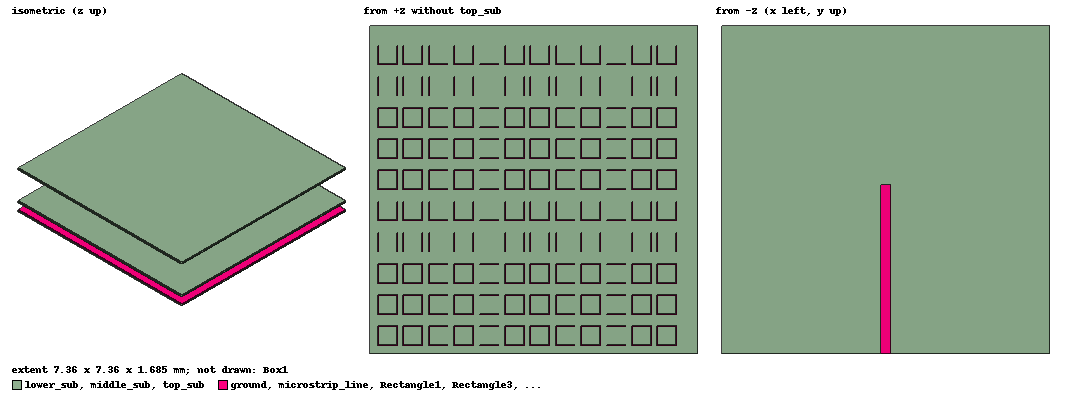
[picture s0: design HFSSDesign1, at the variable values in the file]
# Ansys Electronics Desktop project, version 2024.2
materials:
  vacuum: permittivity=1
  Rogers RO3003 (tm): permittivity=3 dielectric_loss_tangent=0.0013
  air: permittivity=1.0006 permeability=1.0000004

design HFSSDesign1 (HFSS, HFSS Terminal Network, model units mm)
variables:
  hs = 0.0639mm
  mlin = 0.2455mm
  h1 = 0.286mm
  pl = 0.716mm
  pw = 0.716mm
  lg = 7.36mm
  wg = 7.36mm
  l_hori = 0.3273mm
  w_hori = 0.1023mm
  w_vert = 0.0972mm
  l_vert = 0.2045mm
  h2 = 1.207mm
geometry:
  lower_sub [Rogers RO3003 (tm)] = box(corner=(-lg/2, -wg/2, 0mm), size=(lg, wg, hs))
  ground = rectangle(corner=(-lg/2, -wg/2, hs), x_size=lg, y_size=wg)
  microstrip_line = rectangle(corner=(-mlin/2, -wg/2, 0mm), x_size=mlin, y_size=wg/2+l_vert/2)
  middle_sub [Rogers RO3003 (tm)] = box(corner=(-lg/2, -wg/2, hs+h1), size=(lg, wg, hs))
  patch = rectangle(corner=(-pl/2, -pw/2, hs+h1), x_size=pl, y_size=pw)
  feed = rectangle(corner=(-mlin/2, -wg/2, 0mm), z_size=hs, x_size=mlin)
  horizontal_h = rectangle(corner=(-l_hori/2, -w_hori /2, hs), x_size=l_hori, y_size=w_hori)
  vertical_left = rectangle(corner=(-l_hori/2, -l_vert/2, hs), x_size=-w_vert, y_size=l_vert)
  vertical_right = rectangle(corner=(l_hori/2, -l_vert/2, hs), x_size=w_vert, y_size=l_vert)
  horizontal_h.unite(vertical_left, vertical_right)
  ground.subtract(horizontal_h)
  top_sub [Rogers RO3003 (tm)] = box(corner=(-lg/2, -wg/2, hs+h1+hs+h2), size=(lg, wg, hs))
  Rectangle1 = rectangle(corner=(-3.5mm, -3.5mm, hs+h1+hs+h2), x_size=0.441mm, y_size=0.441mm)
  Rectangle2 = rectangle(corner=((-3.5+0.0163) mm, (-3.5+0.0163) mm, hs+h1+hs+h2), x_size=0.4084mm, y_size=0.4084mm)
  Rectangle1.subtract(Rectangle2)
  Rectangle3 = rectangle(corner=(-3.5mm+0.57mm, -3.5mm, hs+h1+hs+h2), x_size=0.441mm, y_size=0.441mm)
  Rectangle4 = rectangle(corner=((-3.5+0.0163+0.57) mm, (-3.5+0.0163) mm, hs+h1+hs+h2), x_size=0.4084mm, y_size=0.4084mm)
  Rectangle3.subtract(Rectangle4)
  Rectangle5 = rectangle(corner=(-3.5mm+2*0.57mm, -3.5mm, hs+h1+hs+h2), x_size=0.441mm, y_size=0.441mm)
  Rectangle6 = rectangle(corner=((-3.5+0.0163+2*0.57) mm, (-3.5+0.0163) mm, hs+h1+hs+h2), x_size=0.4084mm, y_size=0.4084mm)
  Rectangle5.subtract(Rectangle6)
  Rectangle7 = rectangle(corner=(-3.5mm+3*0.57mm, -3.5mm, hs+h1+hs+h2), x_size=0.441mm, y_size=0.441mm)
  Rectangle8 = rectangle(corner=((-3.5+0.0163+3*0.57) mm, (-3.5+0.0163) mm, hs+h1+hs+h2), x_size=0.4084mm, y_size=0.4084mm)
  Rectangle7.subtract(Rectangle8)
  Rectangle9 = rectangle(corner=(-3.5mm+4*0.57mm, -3.5mm, hs+h1+hs+h2), x_size=0.441mm, y_size=0.441mm)
  Rectangle10 = rectangle(corner=((-3.5+0.0163+4*0.57) mm, (-3.5+0.0163) mm, hs+h1+hs+h2), x_size=0.4084mm, y_size=0.4084mm)
  Rectangle9.subtract(Rectangle10)
  Rectangle11 = rectangle(corner=(-3.5mm+5*0.57mm, -3.5mm, hs+h1+hs+h2), x_size=0.441mm, y_size=0.441mm)
  Rectangle12 = rectangle(corner=((-3.5+0.0163+5*0.57) mm, (-3.5+0.0163) mm, hs+h1+hs+h2), x_size=0.4084mm, y_size=0.4084mm)
  Rectangle11.subtract(Rectangle12)
  Rectangle13 = rectangle(corner=(-3.5mm+6*0.57mm, -3.5mm, hs+h1+hs+h2), x_size=0.441mm, y_size=0.441mm)
  Rectangle14 = rectangle(corner=((-3.5+0.0163+6*0.57) mm, (-3.5+0.0163) mm, hs+h1+hs+h2), x_size=0.4084mm, y_size=0.4084mm)
  Rectangle13.subtract(Rectangle14)
  Rectangle15 = rectangle(corner=(-3.5mm+7*0.57mm, -3.5mm, hs+h1+hs+h2), x_size=0.441mm, y_size=0.441mm)
  Rectangle16 = rectangle(corner=((-3.5+0.0163+7*0.57) mm, (-3.5+0.0163) mm, hs+h1+hs+h2), x_size=0.4084mm, y_size=0.4084mm)
  Rectangle15.subtract(Rectangle16)
  Rectangle17 = rectangle(corner=(-3.5mm+8*0.57mm, -3.5mm, hs+h1+hs+h2), x_size=0.441mm, y_size=0.441mm)
  Rectangle18 = rectangle(corner=((-3.5+0.0163+8*0.57) mm, (-3.5+0.0163) mm, hs+h1+hs+h2), x_size=0.4084mm, y_size=0.4084mm)
  Rectangle17.subtract(Rectangle18)
  Rectangle19 = rectangle(corner=(-3.5mm+9*0.57mm, -3.5mm, hs+h1+hs+h2), x_size=0.441mm, y_size=0.441mm)
  Rectangle20 = rectangle(corner=((-3.5+0.0163+9*0.57) mm, (-3.5+0.0163) mm, hs+h1+hs+h2), x_size=0.4084mm, y_size=0.4084mm)
  Rectangle19.subtract(Rectangle20)
  Rectangle21 = rectangle(corner=(-3.5mm+10*0.57mm, -3.5mm, hs+h1+hs+h2), x_size=0.441mm, y_size=0.441mm)
  Rectangle22 = rectangle(corner=((-3.5+0.0163+10*0.57) mm, (-3.5+0.0163) mm, hs+h1+hs+h2), x_size=0.4084mm, y_size=0.4084mm)
  Rectangle21.subtract(Rectangle22)
  Rectangle23 = rectangle(corner=(-3.5mm+11*0.57mm, -3.5mm, hs+h1+hs+h2), x_size=0.441mm, y_size=0.441mm)
  Rectangle24 = rectangle(corner=((-3.5+0.0163+11*0.57) mm, (-3.5+0.0163) mm, hs+h1+hs+h2), x_size=0.4084mm, y_size=0.4084mm)
  Rectangle23.subtract(Rectangle24)
  Rectangle1_1..Rectangle1_9 = Rectangle1.duplicate_along_line(step=(0mm, 0.7mm, 0mm), total=10)
  Rectangle3_1..Rectangle3_9 = Rectangle3.duplicate_along_line(step=(0mm, 0.7mm, 0mm), total=10)
  Rectangle5_1..Rectangle5_9 = Rectangle5.duplicate_along_line(step=(0mm, 0.7mm, 0mm), total=10)
  Rectangle7_1..Rectangle7_9 = Rectangle7.duplicate_along_line(step=(0mm, 0.7mm, 0mm), total=10)
  Rectangle9_1..Rectangle9_9 = Rectangle9.duplicate_along_line(step=(0mm, 0.7mm, 0mm), total=10)
  Rectangle11_1..Rectangle11_9 = Rectangle11.duplicate_along_line(step=(0mm, 0.7mm, 0mm), total=10)
  Rectangle13_1..Rectangle13_9 = Rectangle13.duplicate_along_line(step=(0mm, 0.7mm, 0mm), total=10)
  Rectangle15_1..Rectangle15_9 = Rectangle15.duplicate_along_line(step=(0mm, 0.7mm, 0mm), total=10)
  Rectangle17_1..Rectangle17_9 = Rectangle17.duplicate_along_line(step=(0mm, 0.7mm, 0mm), total=10)
  Rectangle19_1..Rectangle19_9 = Rectangle19.duplicate_along_line(step=(0mm, 0.7mm, 0mm), total=10)
  Rectangle21_1..Rectangle21_9 = Rectangle21.duplicate_along_line(step=(0mm, 0.7mm, 0mm), total=10)
  Rectangle23_1..Rectangle23_9 = Rectangle23.duplicate_along_line(step=(0mm, 0.7mm, 0mm), total=10)
  Box1 [air] = box(corner=(-4mm, -4mm, -2mm), size=(8mm, 8mm, 6mm))
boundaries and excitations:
  PerfE1: Perfect E Objects=[ground, microstrip_line, patch]
  PerfE2: Perfect E Objects=[Rectangle1, Rectangle1_1..Rectangle1_6, Rectangle1_8, Rectangle1_7, Rectangle1_9, Rectangle3, Rectangle3_1..Rectangle3_9, Rectangle5, Rectangle5_1..Rectangle5_9, Rectangle7, Rectangle7_1, Rectangle7_3, Rectangle7_2, Rectangle7_4, Rectangle7_6, Rectangle7_5, Rectangle7_7, Rectangle7_8, Rectangle7_9, Rectangle9, Rectangle9_1..Rectangle9_6, Rectangle9_8, Rectangle9_7, Rectangle9_9, Rectangle11, Rectangle11_1..Rectangle11_7, Rectangle11_9, Rectangle11_8, Rectangle13, Rectangle13_1..Rectangle13_9, Rectangle15, Rectangle15_1, Rectangle15_3, Rectangle15_4, Rectangle15_2, Rectangle15_5..Rectangle15_9, Rectangle17, Rectangle17_1..Rectangle17_4, Rectangle23_9, Rectangle23_8, Rectangle23_7, Rectangle23_6, Rectangle23_5, Rectangle23_4, Rectangle23_3, Rectangle23_2, Rectangle23_1, Rectangle21_9, Rectangle23, Rectangle21_8, Rectangle21_7, Rectangle21_6, Rectangle21_5, Rectangle21_4, Rectangle21_3, Rectangle21_2, Rectangle21_1, Rectangle21, Rectangle19_9, Rectangle19_8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]
  Rad1: Radiation Objects=Box1
  1: Lumped Port Objects=feed LumpedPortType=Modal Modes{Mode1{IntLine{(0, -3.68, 0) -> (0, -3.68, 0.0639)} CharImp=Zpi RenormImp=50ohm}} Impedance=50ohm
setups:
  Setup1: HfssDriven Frequency=110GHz MaxDeltaS=0.02 MaximumPasses=12 MinimumPasses=1 MinimumConvergedPasses=1 PercentRefinement=30 BasisOrder=1 PortAccuracy=2 DrivenSolverType="Direct Solver"
    sweep Sweep: 85GHz to 135GHz, 150 points; Type=Fast SaveFields
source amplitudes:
  1:1: 1V 0deg
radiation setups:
  Infinite Sphere1: Infinite Sphere Theta=-90deg..90deg step 2deg Phi=-180deg..180deg step 2deg
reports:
  S Parameter Plot 1: dB(S(1,1)) vs Freq on Setup1 : Sweep; markers m1 at 112.85235GHz, m2 at 107.48322GHz, m3 at 117.35GHz
  Gain Plot 2: dB(GainPhi), dB(GainTheta) vs Theta on Setup1 : Sweep, Infinite Sphere1 [Phi=90deg Freq=112.852GHz]
  Gain Plot 3: dB(GainPhi), dB(GainTheta) vs Theta on Setup1 : Sweep, Infinite Sphere1 [Phi=0deg Freq=112.852GHz]
  Gain Plot 4: dB(GainTotal) vs Freq on Setup1 : Sweep, Infinite Sphere1 [Phi=0deg Theta=0deg]; markers m1 at 110GHz
  VSWR Plot 1: VSWR(1) vs Freq on Setup1 : Sweep; markers m1 at 112.85GHz
  Gain Plot 5: dB(GainTotal) vs Phi, Theta on Setup1 : Sweep, Infinite Sphere1 [Freq=112.852GHz]
  Gain Plot 6: dB(GainTotal) vs Phi, Theta on Setup1 : Sweep, Infinite Sphere1 [Freq=112.852GHz]
